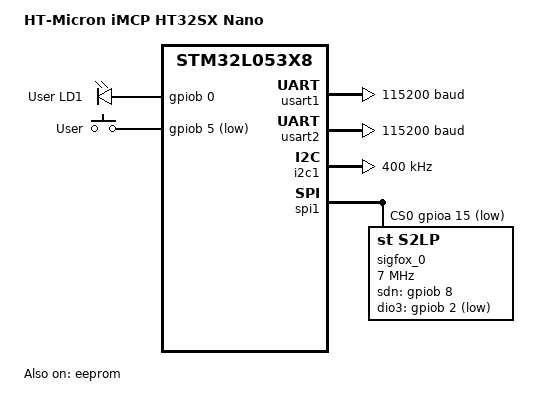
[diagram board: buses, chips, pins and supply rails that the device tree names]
/*
 * Copyright (c) 2020 Gerson Fernando Budke <nandojve@gmail.com>
 *
 * SPDX-License-Identifier: Apache-2.0
 */

/dts-v1/;
#include <st/l0/stm32l053X8.dtsi>

/ {
	model = "HT-Micron iMCP HT32SX Nano";
	compatible = "htm,ht32sx";

	chosen {
		zephyr,console = &usart2;
		zephyr,shell-uart = &usart2;
		zephyr,sram = &sram0;
		zephyr,flash = &flash0;
	};

	leds {
		compatible = "gpio-leds";
		led_1: led_1 {
			gpios = <&gpiob 0 GPIO_ACTIVE_HIGH>;
			label = "User LD1";
		};
	};

	gpio_keys {
		compatible = "gpio-keys";
		user_button: button {
			label = "User";
			gpios = <&gpiob 5 GPIO_ACTIVE_LOW>;
		};
	};

	aliases {
		led0 = &led_1;
		sw0 = &user_button;

		eeprom-0 = &eeprom;
		sigfox0 = &sigfox0;
	};
};

/* GPIO not available */
&gpioc {status = "disabled";};
&gpiod {status = "disabled";};
&gpioh {status = "disabled";};

&usart1 {
	current-speed = <115200>;
};

&usart2 {
	status = "okay";
	current-speed = <115200>;
};

&i2c1 {
	status = "okay";
	clock-frequency = <I2C_BITRATE_FAST>;
};

&spi1 {
	status = "okay";

	dmas = <&dma1 3 1 0x28440 0x04>,
	       <&dma1 2 1 0x28480 0x04>;
	dma-names = "tx", "rx";

	cs-gpios = <&gpioa 15 GPIO_ACTIVE_LOW>;

	sigfox0: sigfox@0 {
		status = "okay";

		compatible = "st,s2lp";
		reg = <0x0>;
		label = "sigfox_0";
		spi-max-frequency = <7000000>;

		trx-clock-frequency = <50000000>;
		sdn-gpios = <&gpiob 8 GPIO_ACTIVE_HIGH>;
		dio3-gpios = <&gpiob 2 GPIO_ACTIVE_LOW>;
		dio3-function = <0x02>;

		trx-ext-pa;
		trx-ext-lna;
	};
};

&dma1 {
	status = "okay";
};

&eeprom {
	status = "okay";
};
